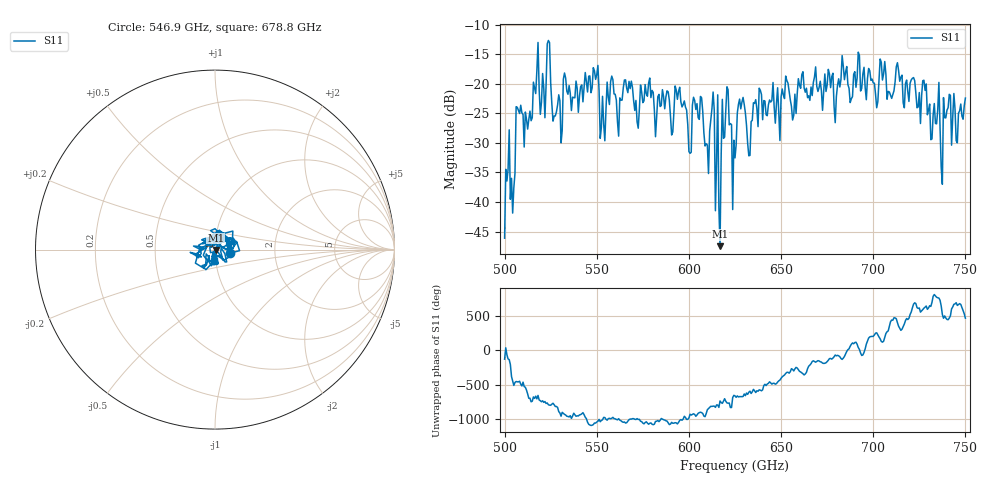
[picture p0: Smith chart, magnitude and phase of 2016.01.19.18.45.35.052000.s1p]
!Created with skrf (http://scikit-rf.org).
# GHz S RI R 50.0
!freq ReS11 ImS11
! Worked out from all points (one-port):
!   401 points, 500 GHz to 750 GHz, reference 50 ohm
!   lowest |S11| = -47.5 dB at 616.9 GHz (marker M1), VSWR 1.01, Z = 50.4 - j0.135 ohm
!   |S11| at or under -10 dB: start of sweep to end of sweep
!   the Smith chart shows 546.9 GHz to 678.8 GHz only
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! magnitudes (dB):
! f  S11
! 500 GHz  -46.1
! 501.9 GHz  -34.5
! 504.4 GHz  -41.9
! 507.5 GHz  -24.5
! 513.8 GHz  -24.6
! 516.9 GHz  -21.6
! 523.8 GHz  -12.7
! 526.9 GHz  -25.4
! 531.2 GHz  -27.9
! 549.4 GHz  -19.2
! 553.1 GHz  -22.1
! 558.8 GHz  -19.3
! 562.5 GHz  -22.4
! 593.8 GHz  -22.6
! 600 GHz  -31.5
! 612.5 GHz  -24.2
! 615.6 GHz  -21.9
! 616.9 GHz  -47.5
! 621.2 GHz  -21.0
! 625 GHz  -32.5
! 628.1 GHz  -24.2
! 632.5 GHz  -32.2
! 639.4 GHz  -21.8
! 656.2 GHz  -26.1
! 687.5 GHz  -23.2
! 718.8 GHz  -21.3
! 737.5 GHz  -37.0
! 750 GHz  -22.4
